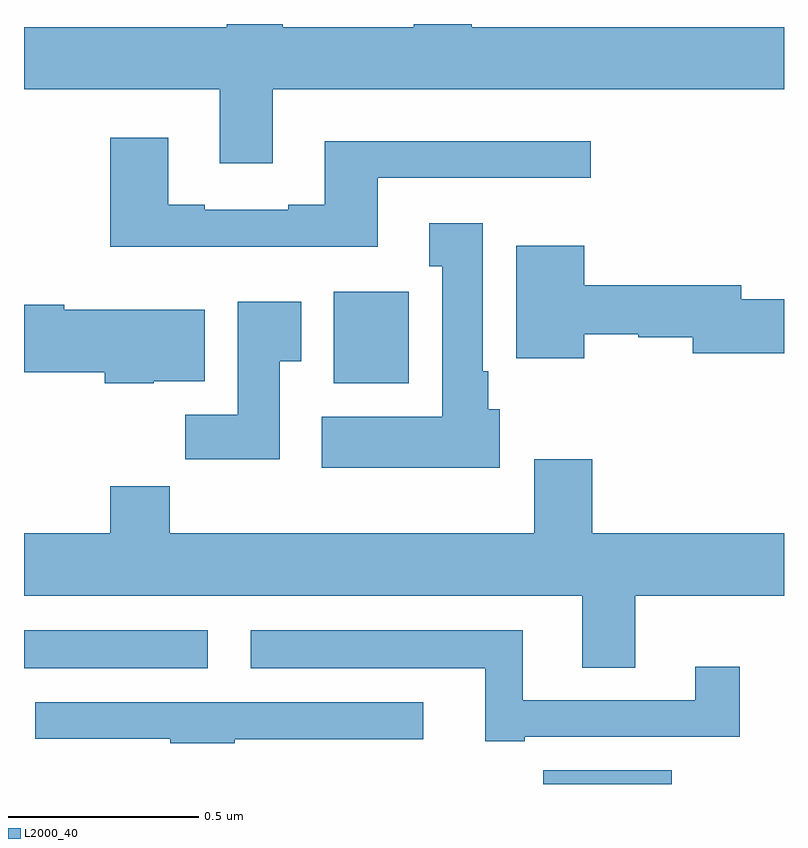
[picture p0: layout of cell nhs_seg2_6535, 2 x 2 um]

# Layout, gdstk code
import gdstk
lib = gdstk.Library(unit=1e-6, precision=1e-09)
def R(c, l, rs):  # rectangles x0, y0, x1, y1
    for r in rs: c.add(gdstk.rectangle(r[:2], r[2:], *l))
def P(c, l, *ps):  # polygons
    for p in ps: c.add(gdstk.Polygon(p, *l))
L2000_40 = (2000, 40)

nhs_seg2_6535 = lib.new_cell('nhs_seg2_6535')
R(nhs_seg2_6535, L2000_40, [(193.367,653.8,193.705,653.836), (192,654.104,192.484,654.205), (192.815,654.854,193.012,655.096)])
P(nhs_seg2_6535, L2000_40, [(192.655,655.628),(194,655.628),(194,655.792),(193.178,655.792),(193.178,655.8),(193.025,655.8),(193.025,655.792),(192.681,655.792),(192.681,655.8),(192.533,655.8),(192.533,655.792),(192,655.792),(192,655.628),(192.515,655.628),(192.515,655.434),(192.655,655.434)],
  [(192.931,655.395),(193.492,655.395),(193.492,655.492),(192.791,655.492),(192.791,655.324),(192.695,655.324),(192.695,655.311),(192.475,655.311),(192.475,655.324),(192.379,655.324),(192.379,655.501),(192.227,655.501),(192.227,655.214),(192.931,655.214)],
  [(193.252,654.786),(193.222,654.786),(193.222,654.886),(193.207,654.886),(193.207,655.276),(193.067,655.276),(193.067,655.163),(193.1,655.163),(193.1,654.766),(192.783,654.766),(192.783,654.632),(193.252,654.632)],
  [(193.474,654.984),(193.617,654.984),(193.617,654.976),(193.76,654.976),(193.76,654.934),(194,654.934),(194,655.076),(193.888,655.076),(193.888,655.112),(193.474,655.112),(193.474,655.216),(193.295,655.216),(193.295,654.92),(193.474,654.92)],
  [(192.673,654.913),(192.73,654.913),(192.73,655.069),(192.563,655.069),(192.563,654.772),(192.424,654.772),(192.424,654.654),(192.673,654.654)],
  [(192.342,654.86),(192.475,654.86),(192.475,655.048),(192.106,655.048),(192.106,655.061),(192,655.061),(192,654.883),(192.212,654.883),(192.212,654.854),(192.342,654.854)],
  [(193.609,654.296),(194,654.296),(194,654.46),(193.496,654.46),(193.496,654.655),(193.343,654.655),(193.343,654.46),(192.383,654.46),(192.383,654.584),(192.227,654.584),(192.227,654.46),(192,654.46),(192,654.296),(193.469,654.296),(193.469,654.106),(193.609,654.106)],
  [(193.318,653.925),(193.883,653.925),(193.883,654.109),(193.766,654.109),(193.766,654.021),(193.312,654.021),(193.312,654.205),(192.597,654.205),(192.597,654.104),(193.214,654.104),(193.214,653.913),(193.318,653.913)],
  [(192.554,653.918),(193.051,653.918),(193.051,654.015),(192.03,654.015),(192.03,653.919),(192.385,653.919),(192.385,653.907),(192.554,653.907)])

lib.write_gds('nhs_seg2_6535.gds')
